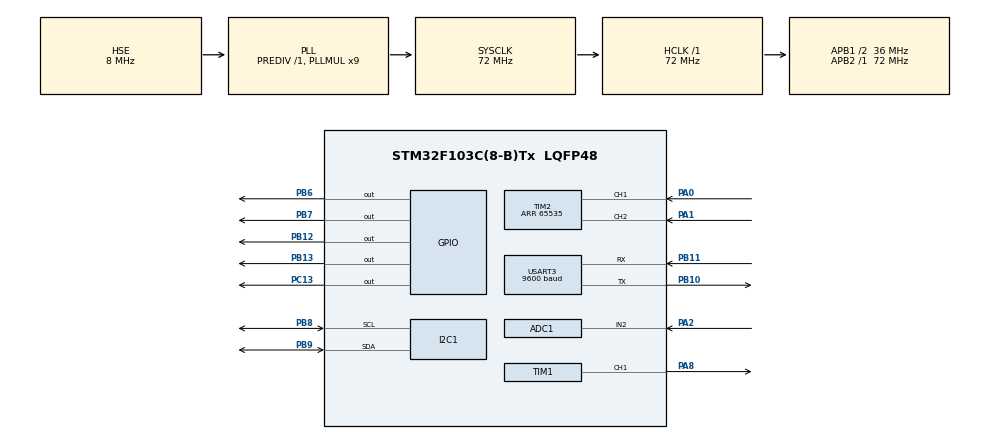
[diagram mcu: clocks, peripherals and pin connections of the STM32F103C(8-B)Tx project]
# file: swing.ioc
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ADC1.Channel-0\#ChannelRegularConversion=ADC_CHANNEL_2
ADC1.NbrOfConversionFlag=1
ADC1.Rank-0\#ChannelRegularConversion=1
ADC1.SamplingTime-0\#ChannelRegularConversion=ADC_SAMPLETIME_1CYCLE_5
ADC1.master=1
Mcu.Family=STM32F1
Mcu.Name=STM32F103C(8-B)Tx
Mcu.Package=LQFP48
NVIC.ADC1_2_IRQn=true\:0\:0\:false\:false\:true\:true\:true\:true
NVIC.PriorityGroup=NVIC_PRIORITYGROUP_4
NVIC.TIM1_BRK_IRQn=true\:0\:0\:false\:false\:true\:true\:true\:true
NVIC.TIM1_CC_IRQn=true\:0\:0\:false\:false\:true\:true\:true\:true
NVIC.TIM1_TRG_COM_IRQn=true\:0\:0\:false\:false\:true\:true\:true\:true
NVIC.TIM1_UP_IRQn=true\:0\:0\:false\:false\:true\:true\:true\:true
NVIC.TIM2_IRQn=true\:0\:0\:false\:false\:true\:true\:true\:true
NVIC.USART3_IRQn=true\:0\:0\:false\:false\:true\:true\:true\:true
PA0-WKUP.Signal=S_TIM2_CH1_ETR
PA1.Signal=S_TIM2_CH2
PA13.Mode=Serial_Wire
PA13.Signal=SYS_JTMS-SWDIO
PA14.Mode=Serial_Wire
PA14.Signal=SYS_JTCK-SWCLK
PA2.Signal=ADCx_IN2
PA8.Signal=S_TIM1_CH1
PB10.Mode=Asynchronous
PB10.Signal=USART3_TX
PB11.Mode=Asynchronous
PB11.Signal=USART3_RX
PB12.Signal=GPIO_Output
PB13.Signal=GPIO_Output
PB6.Signal=GPIO_Output
PB7.Signal=GPIO_Output
PB8.Mode=I2C
PB8.Signal=I2C1_SCL
PB9.Mode=I2C
PB9.Signal=I2C1_SDA
PC13-TAMPER-RTC.PinState=GPIO_PIN_SET
PC13-TAMPER-RTC.Signal=GPIO_Output
PD0-OSC_IN.Mode=HSE-External-Oscillator
PD0-OSC_IN.Signal=RCC_OSC_IN
PD1-OSC_OUT.Mode=HSE-External-Oscillator
PD1-OSC_OUT.Signal=RCC_OSC_OUT
ProjectManager.HeapSize=0x200
ProjectManager.StackSize=0x400
ProjectManager.TargetToolchain=MDK-ARM V5.32
RCC.ADCPresc=RCC_ADCPCLK2_DIV6
RCC.AHBFreq_Value=72000000
RCC.APB1CLKDivider=RCC_HCLK_DIV2
RCC.APB1Freq_Value=36000000
RCC.APB1TimFreq_Value=72000000
RCC.APB2Freq_Value=72000000
RCC.APB2TimFreq_Value=72000000
RCC.HCLKFreq_Value=72000000
RCC.PLLMUL=RCC_PLL_MUL9
RCC.PLLSourceVirtual=RCC_PLLSOURCE_HSE
RCC.SYSCLKFreq_VALUE=72000000
RCC.SYSCLKSource=RCC_SYSCLKSOURCE_PLLCLK
RCC.USBFreq_Value=72000000
SH.ADCx_IN2.0=ADC1_IN2,IN2
SH.S_TIM1_CH1.0=TIM1_CH1,PWM Generation1 CH1
SH.S_TIM2_CH1_ETR.0=TIM2_CH1,Encoder_Interface
SH.S_TIM2_CH2.0=TIM2_CH2,Encoder_Interface
TIM1.Channel-PWM\ Generation1\ CH1=TIM_CHANNEL_1
TIM1.Period=10000-1
TIM1.Prescaler=72-1
TIM2.EncoderMode=TIM_ENCODERMODE_TI12
TIM2.Period=65535
USART3.BaudRate=9600
USART3.VirtualMode=VM_ASYNC
VP_TIM1_VS_ClockSourceINT.Mode=Internal
board=custom

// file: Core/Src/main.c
/* USER CODE BEGIN Header */
/**
 ******************************************************************************
 * @file           : main.c
 * @brief          : Main program body
 ******************************************************************************
 * @attention
 *
 * Copyright (c) 2024 STMicroelectronics.
 * All rights reserved.
 *
 * This software is licensed under terms that can be found in the LICENSE file
 * in the root directory of this software component.
 * If no LICENSE file comes with this software, it is provided AS-IS.
 *
 ******************************************************************************
 */
/* USER CODE END Header */
#include "main.h"
#include "adc.h"
#include "i2c.h"
#include "tim.h"
#include "usart.h"
#include "gpio.h"

/* USER CODE BEGIN Includes */
#include "oled.h"
#include "interrupt.h"
#include "adcc.h"
#include "string.h"
#include "stdio.h"

/* USER CODE END Includes */

/* USER CODE BEGIN PTD */
extern char rxdatas[30];
extern uint8_t rxdata;
extern unsigned char rx_pointer;
extern int flag_stop;
int flag_init = 1;
extern int num_counter;

int start_mode = 0;

int raw_now = 0;
int raw_last = 0;

int alarm_left = 0;
int alarm_right = 0;
/* USER CODE END PTD */

void SystemClock_Config(void);

int main(void)
{

  /* MCU Configuration--------------------------------------------------------*/

  /* Reset of all peripherals, Initializes the Flash interface and the Systick. */
  HAL_Init();

  /* Configure the system clock */
  SystemClock_Config();

  /* Initialize all configured peripherals */
  MX_GPIO_Init();
  MX_ADC1_Init();
  MX_TIM1_Init();
  MX_I2C1_Init();
  MX_USART3_UART_Init();
  MX_TIM2_Init();
  /* USER CODE BEGIN 2 */
  OLED_Init();
  OLED_Clear();
  HAL_TIM_Base_Start_IT(&htim1);
  HAL_TIM_Base_Start(&htim1);
  HAL_TIM_PWM_Start(&htim1, TIM_CHANNEL_1);
  HAL_ADC_Start(&hadc1);
  HAL_ADCEx_Calibration_Start(&hadc1);
  HAL_UART_Receive_IT(&huart3, &rxdata, 1);
  HAL_TIM_Encoder_Start(&htim2, TIM_CHANNEL_ALL);

  __HAL_TIM_SET_COUNTER(&htim2, 30000);
  /* USER CODE END 2 */

  /* Infinite loop */
  /* USER CODE BEGIN WHILE */
  while (1)
  {
    OLED_ShowNum(0, 0, (int)(get_adc(&hadc1) * 10000), 10, 16, 1);
    OLED_ShowNum(0, 2, num_counter, 6, 16, 1);
    OLED_ShowNum(0, 4, alarm_left, 6, 16, 1);
    OLED_ShowNum(0, 6, alarm_right, 6, 16, 1);

    raw_now = (int)(get_adc(&hadc1) * 100);

    if (num_counter > 38000)
      alarm_left = 1;
    if (num_counter < 24000)
      alarm_right = 1;
    if (num_counter > 29000 && num_counter < 31000)
    {
      alarm_left = 0;
      alarm_right = 0;
    }

    if (flag_init == 0 && flag_stop == 0) ////////////////运动
    {
      if (start_mode == 0) //////////////////////////////////////////////////////////////////第一阶段
      {
        if (raw_now > 0 && raw_now < 160 && raw_last > 0 && raw_last < 160) /////////////////杆在右侧
        {
          if ((raw_now - raw_last) < 0 && alarm_right == 0) ////////////////////////////下落趋势向←←←←走
          {
            HAL_GPIO_WritePin(GPIOB, GPIO_PIN_12, GPIO_PIN_SET);
            HAL_GPIO_WritePin(GPIOB, GPIO_PIN_13, GPIO_PIN_RESET);
            __HAL_TIM_SET_COMPARE(&htim1, TIM_CHANNEL_1, 9500);
          }
        }
        else if (raw_now > 170 && raw_last > 170) /////////////////////////杆在左侧
        {
          if ((raw_now - raw_last) > 0 && alarm_left == 0) //////////////////////////////下落趋势向→→→→→→→→走
          {
            HAL_GPIO_WritePin(GPIOB, GPIO_PIN_12, GPIO_PIN_RESET);
            HAL_GPIO_WritePin(GPIOB, GPIO_PIN_13, GPIO_PIN_SET);
            __HAL_TIM_SET_COMPARE(&htim1, TIM_CHANNEL_1, 9500);
          }
        }
        else
        {
          __HAL_TIM_SET_COMPARE(&htim1, TIM_CHANNEL_1, 000);
        }
      }
      ////////////////////////////////////////////////////////////////////////////////////////////////////////
      if ((raw_now > 160 && raw_now < 180) || (raw_now < 210 && raw_now > 180)) /////////////////第二阶段
      {
        // start_mode = 1;
      }

      if (start_mode == 1)
      {
        if (raw_now > 30 && raw_now < 180 && raw_last > 30 && raw_last < 180)
        {
          if ((raw_now - raw_last) < 0)
          {
            HAL_GPIO_WritePin(GPIOB, GPIO_PIN_12, GPIO_PIN_SET);
            HAL_GPIO_WritePin(GPIOB, GPIO_PIN_13, GPIO_PIN_RESET);
            __HAL_TIM_SET_COMPARE(&htim1, TIM_CHANNEL_1, 2000);
          }
        }

        else if (raw_now > 180 && raw_last > 180)
        {
          if ((raw_now - raw_last) > 0)
            HAL_GPIO_WritePin(GPIOB, GPIO_PIN_12, GPIO_PIN_RESET);
          HAL_GPIO_WritePin(GPIOB, GPIO_PIN_13, GPIO_PIN_SET);
          __HAL_TIM_SET_COMPARE(&htim1, TIM_CHANNEL_1, 2000);
        }
        else
        {
          __HAL_TIM_SET_COMPARE(&htim1, TIM_CHANNEL_1, 000);
        }
      }
      ///////// //////// //////// //////// //////// //////// //////// //////// //////// //////// //////// ///
    }
    raw_last = raw_now;

    if (rx_pointer >= 3)
    {
      if (rxdatas[0] == 0 && rxdatas[1] == 0)
      {
        if (rxdatas[2] == 0 && flag_init == 1)
        {
          HAL_GPIO_WritePin(GPIOB, GPIO_PIN_12, GPIO_PIN_RESET);
          HAL_GPIO_WritePin(GPIOB, GPIO_PIN_13, GPIO_PIN_SET);
          __HAL_TIM_SET_COMPARE(&htim1, TIM_CHANNEL_1, 5000);
        }
        if (rxdatas[2] == 1 && flag_init == 1)
        {
          HAL_GPIO_WritePin(GPIOB, GPIO_PIN_12, GPIO_PIN_SET);
          HAL_GPIO_WritePin(GPIOB, GPIO_PIN_13, GPIO_PIN_RESET);
          __HAL_TIM_SET_COMPARE(&htim1, TIM_CHANNEL_1, 5000);
        }
        if (rxdatas[2] == 2)
        {
          flag_stop = !flag_stop;
          char temp[20]; //////////////////////���ڷ���
          sprintf(temp, "stop=%d\r\n", flag_stop);
          HAL_UART_Transmit(&huart3, (uint8_t *)temp, strlen(temp), 50);
        }
        if (rxdatas[2] == 3)
        {
          flag_init = !flag_init;
          char temp[20]; //////////////////////���ڷ���
          sprintf(temp, "init=%d\r\n", flag_init);
          HAL_UART_Transmit(&huart3, (uint8_t *)temp, strlen(temp), 50);
        }
        rx_pointer = 0;
        memset(rxdatas, 0, 30);
      }
    }

    if (flag_stop == 1)
    {
      HAL_GPIO_WritePin(GPIOB, GPIO_PIN_12, GPIO_PIN_RESET);
      HAL_GPIO_WritePin(GPIOB, GPIO_PIN_13, GPIO_PIN_RESET);
    }

    /* USER CODE END WHILE */

  }
}

void SystemClock_Config(void)
{
  RCC_OscInitTypeDef RCC_OscInitStruct = {0};
  RCC_ClkInitTypeDef RCC_ClkInitStruct = {0};
  RCC_PeriphCLKInitTypeDef PeriphClkInit = {0};

  /** Initializes the RCC Oscillators according to the specified parameters
   * in the RCC_OscInitTypeDef structure.
   */
  RCC_OscInitStruct.OscillatorType = RCC_OSCILLATORTYPE_HSE;
  RCC_OscInitStruct.HSEState = RCC_HSE_ON;
  RCC_OscInitStruct.HSEPredivValue = RCC_HSE_PREDIV_DIV1;
  RCC_OscInitStruct.HSIState = RCC_HSI_ON;
  RCC_OscInitStruct.PLL.PLLState = RCC_PLL_ON;
  RCC_OscInitStruct.PLL.PLLSource = RCC_PLLSOURCE_HSE;
  RCC_OscInitStruct.PLL.PLLMUL = RCC_PLL_MUL9;
  if (HAL_RCC_OscConfig(&RCC_OscInitStruct) != HAL_OK)
  {
    Error_Handler();
  }

  /** Initializes the CPU, AHB and APB buses clocks
   */
  RCC_ClkInitStruct.ClockType = RCC_CLOCKTYPE_HCLK | RCC_CLOCKTYPE_SYSCLK | RCC_CLOCKTYPE_PCLK1 | RCC_CLOCKTYPE_PCLK2;
  RCC_ClkInitStruct.SYSCLKSource = RCC_SYSCLKSOURCE_PLLCLK;
  RCC_ClkInitStruct.AHBCLKDivider = RCC_SYSCLK_DIV1;
  RCC_ClkInitStruct.APB1CLKDivider = RCC_HCLK_DIV2;
  RCC_ClkInitStruct.APB2CLKDivider = RCC_HCLK_DIV1;

  if (HAL_RCC_ClockConfig(&RCC_ClkInitStruct, FLASH_LATENCY_2) != HAL_OK)
  {
    Error_Handler();
  }
  PeriphClkInit.PeriphClockSelection = RCC_PERIPHCLK_ADC;
  PeriphClkInit.AdcClockSelection = RCC_ADCPCLK2_DIV6;
  if (HAL_RCCEx_PeriphCLKConfig(&PeriphClkInit) != HAL_OK)
  {
    Error_Handler();
  }
}

void Error_Handler(void)
{
  __disable_irq();
  while (1)
  {
  }
}
